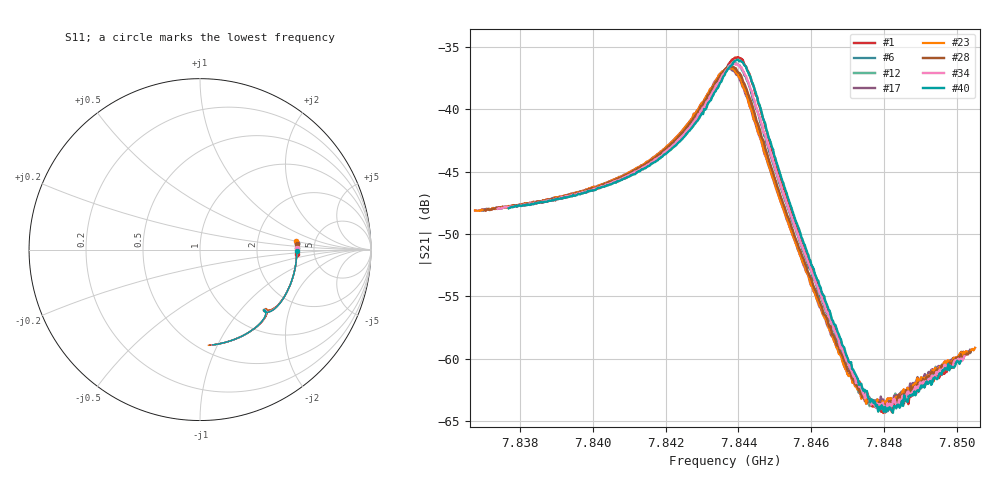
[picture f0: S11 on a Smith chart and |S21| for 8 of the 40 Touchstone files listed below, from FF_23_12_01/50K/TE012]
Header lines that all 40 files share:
#  HZ  S  RI  R  50.00
! Rohde & Schwarz Vector Network Analyzer
! Rohde-Schwarz,ZNB20-2Port,1311601062101988,3.16
! freq[Hz]  re:S11  im:S11  re:S21  im:S21  re:S12  im:S12  re:S22  im:S22
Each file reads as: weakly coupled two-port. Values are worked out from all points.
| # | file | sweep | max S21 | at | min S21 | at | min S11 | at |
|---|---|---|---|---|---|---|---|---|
| 1 | 4_2_48.0984_50.1341057_1195.338_.s2p | 7.8379 GHz to 7.84986 GHz | -35.85 dB | 7.84397 GHz | -64.3 dB | 7.84798 GHz | -5.8 dB | 7.84409 GHz |
| 2 | 14_2_48.0986_50.1336327_7182.402_.s2p | 7.83776 GHz to 7.84999 GHz | -35.93 dB | 7.84393 GHz | -64.2 dB | 7.848 GHz | -5.8 dB | 7.84409 GHz |
| 3 | 43_2_48.0994_50.1168861_25229.631_.s2p | 7.83757 GHz to 7.85007 GHz | -36.21 dB | 7.84391 GHz | -64.0 dB | 7.84804 GHz | -5.8 dB | 7.84407 GHz |
| 4 | 47_2_48.1019_50.1140785_27491.615_.s2p | 7.83746 GHz to 7.85016 GHz | -36.22 dB | 7.84393 GHz | -64.0 dB | 7.84797 GHz | -5.8 dB | 7.84403 GHz |
| 5 | 52_2_48.1005_50.1085739_30374.83_.s2p | 7.83756 GHz to 7.85004 GHz | -36.22 dB | 7.8439 GHz | -64.1 dB | 7.84798 GHz | -5.8 dB | 7.84405 GHz |
| 6 | 58_2_48.0976_50.1018143_34072.988_.s2p | 7.83739 GHz to 7.85018 GHz | -36.28 dB | 7.84385 GHz | -64.2 dB | 7.8481 GHz | -5.8 dB | 7.84404 GHz |
| 7 | 66_2_48.0986_50.09552_38948.66_.s2p | 7.83738 GHz to 7.85015 GHz | -36.35 dB | 7.84392 GHz | -64.1 dB | 7.84801 GHz | -5.8 dB | 7.84402 GHz |
| 8 | 71_2_48.0982_50.0892296_41797.754_.s2p | 7.8372 GHz to 7.85031 GHz | -36.37 dB | 7.84385 GHz | -64.0 dB | 7.84802 GHz | -5.8 dB | 7.84399 GHz |
| 9 | 85_2_48.0988_50.0775375_50395.297_.s2p | 7.83723 GHz to 7.85024 GHz | -36.51 dB | 7.84386 GHz | -64.1 dB | 7.84799 GHz | -5.8 dB | 7.84396 GHz |
| 10 | 87_2_48.0993_50.0753326_51539.551_.s2p | 7.83715 GHz to 7.85029 GHz | -36.50 dB | 7.84379 GHz | -63.9 dB | 7.84796 GHz | -5.8 dB | 7.84398 GHz |
| 11 | 93_2_48.1012_50.0693779_55291.684_.s2p | 7.83703 GHz to 7.8504 GHz | -36.54 dB | 7.84385 GHz | -63.8 dB | 7.84793 GHz | -5.8 dB | 7.84395 GHz |
| 12 | 117_2_48.0993_50.0492134_69663.766_.s2p | 7.83696 GHz to 7.85039 GHz | -36.67 dB | 7.84378 GHz | -63.8 dB | 7.8476 GHz | -5.7 dB | 7.84391 GHz |
| 13 | 118_2_48.0977_50.0481567_70238.625_.s2p | 7.83689 GHz to 7.85043 GHz | -36.64 dB | 7.84376 GHz | -63.9 dB | 7.84775 GHz | -5.7 dB | 7.84396 GHz |
| 14 | 120_2_48.0993_50.0462532_71396.078_.s2p | 7.83698 GHz to 7.85037 GHz | -36.70 dB | 7.84371 GHz | -63.8 dB | 7.84776 GHz | -5.7 dB | 7.84391 GHz |
| 15 | 121_2_48.0967_50.0448151_71961.172_.s2p | 7.83692 GHz to 7.85041 GHz | -36.70 dB | 7.84373 GHz | -63.8 dB | 7.84791 GHz | -5.7 dB | 7.84393 GHz |
| 16 | 126_2_48.0997_50.0414085_75125.641_.s2p | 7.83691 GHz to 7.8504 GHz | -36.63 dB | 7.84376 GHz | -63.8 dB | 7.848 GHz | -5.7 dB | 7.84389 GHz |
| 17 | 135_2_48.1006_50.0314674_80577.828_.s2p | 7.83692 GHz to 7.85036 GHz | -36.73 dB | 7.84374 GHz | -63.9 dB | 7.84777 GHz | -5.7 dB | 7.84391 GHz |
| 18 | 137_2_48.1022_50.0297203_81747.531_.s2p | 7.83692 GHz to 7.85033 GHz | -36.78 dB | 7.84376 GHz | -63.7 dB | 7.84795 GHz | -5.7 dB | 7.84389 GHz |
| 19 | 157_2_48.1016_50.0205994_87007.625_.s2p | 7.8369 GHz to 7.85027 GHz | -36.83 dB | 7.84372 GHz | -64.0 dB | 7.84783 GHz | -5.7 dB | 7.84385 GHz |
| 20 | 158_2_48.0999_50.0226402_86428.672_.s2p | 7.83686 GHz to 7.8503 GHz | -36.79 dB | 7.84365 GHz | -64.0 dB | 7.84792 GHz | -5.7 dB | 7.84385 GHz |
| 21 | 181_2_48.101_50.0469627_72676.047_.s2p | 7.83685 GHz to 7.85039 GHz | -36.68 dB | 7.84369 GHz | -63.9 dB | 7.84775 GHz | -5.7 dB | 7.84389 GHz |
| 22 | 183_2_48.1022_50.0498428_71277.797_.s2p | 7.83695 GHz to 7.85031 GHz | -36.67 dB | 7.84376 GHz | -63.9 dB | 7.84784 GHz | -5.7 dB | 7.8439 GHz |
| 23 | 188_2_48.103_50.0552254_68412.367_.s2p | 7.83677 GHz to 7.85049 GHz | -36.64 dB | 7.84377 GHz | -64.0 dB | 7.84792 GHz | -5.7 dB | 7.84387 GHz |
| 24 | 189_2_48.1019_50.0570412_67842.352_.s2p | 7.83699 GHz to 7.8503 GHz | -36.62 dB | 7.84378 GHz | -63.9 dB | 7.8478 GHz | -5.7 dB | 7.84391 GHz |
| 25 | 201_2_48.0993_50.0705948_60692.387_.s2p | 7.83709 GHz to 7.85027 GHz | -36.59 dB | 7.84375 GHz | -64.0 dB | 7.8479 GHz | -5.7 dB | 7.84395 GHz |
| 26 | 202_2_48.1014_50.0723381_60143.246_.s2p | 7.837 GHz to 7.85035 GHz | -36.61 dB | 7.84377 GHz | -63.9 dB | 7.84795 GHz | -5.7 dB | 7.84394 GHz |
| 27 | 207_2_48.1022_50.0788612_57036.652_.s2p | 7.83717 GHz to 7.85021 GHz | -36.57 dB | 7.84379 GHz | -64.3 dB | 7.84796 GHz | -5.7 dB | 7.84395 GHz |
| 28 | 208_2_48.1005_50.0806808_56457.992_.s2p | 7.83703 GHz to 7.85037 GHz | -36.59 dB | 7.84376 GHz | -63.8 dB | 7.84776 GHz | -5.7 dB | 7.84396 GHz |
| 29 | 211_2_48.1058_50.0825424_54769.73_.s2p | 7.83702 GHz to 7.85038 GHz | -36.52 dB | 7.84384 GHz | -63.9 dB | 7.84788 GHz | -5.7 dB | 7.84394 GHz |
| 30 | 222_2_48.0965_50.0960808_48168.746_.s2p | 7.83721 GHz to 7.85026 GHz | -36.44 dB | 7.8438 GHz | -64.0 dB | 7.84794 GHz | -5.8 dB | 7.84396 GHz |
| 31 | 229_2_48.1007_50.1058731_43874.133_.s2p | 7.83729 GHz to 7.8502 GHz | -36.44 dB | 7.84384 GHz | -64.0 dB | 7.8481 GHz | -5.8 dB | 7.84397 GHz |
| 32 | 236_2_48.0994_50.1152878_39619.656_.s2p | 7.83732 GHz to 7.85023 GHz | -36.38 dB | 7.84384 GHz | -64.1 dB | 7.84774 GHz | -5.8 dB | 7.844 GHz |
| 33 | 244_2_48.0996_50.1245308_34736.168_.s2p | 7.83724 GHz to 7.85032 GHz | -36.34 dB | 7.84391 GHz | -64.0 dB | 7.84807 GHz | -5.8 dB | 7.84401 GHz |
| 34 | 248_2_48.1004_50.1303024_32449.057_.s2p | 7.83739 GHz to 7.8502 GHz | -36.33 dB | 7.84389 GHz | -63.9 dB | 7.84812 GHz | -5.8 dB | 7.84405 GHz |
| 35 | 251_2_48.0955_50.1312828_30771.318_.s2p | 7.8375 GHz to 7.85013 GHz | -36.27 dB | 7.84391 GHz | -64.4 dB | 7.84808 GHz | -5.8 dB | 7.84404 GHz |
| 36 | 261_2_48.0997_50.1444016_24689.891_.s2p | 7.83733 GHz to 7.85033 GHz | -36.25 dB | 7.84399 GHz | -64.5 dB | 7.84806 GHz | -5.8 dB | 7.84409 GHz |
| 37 | 265_2_48.1011_50.1491165_22212.668_.s2p | 7.83764 GHz to 7.85008 GHz | -36.22 dB | 7.84392 GHz | -64.2 dB | 7.84793 GHz | -5.8 dB | 7.84411 GHz |
| 38 | 272_2_48.1011_50.1528664_18157.926_.s2p | 7.83757 GHz to 7.85015 GHz | -36.14 dB | 7.84402 GHz | -64.2 dB | 7.84792 GHz | -5.8 dB | 7.84411 GHz |
| 39 | 274_2_48.098_50.1545372_16750.291_.s2p | 7.83766 GHz to 7.85008 GHz | -36.14 dB | 7.84403 GHz | -64.2 dB | 7.848 GHz | -5.8 dB | 7.84409 GHz |
| 40 | 282_2_48.0991_50.1640587_12201.635_.s2p | 7.8377 GHz to 7.8501 GHz | -36.05 dB | 7.84399 GHz | -64.3 dB | 7.84824 GHz | -5.8 dB | 7.84412 GHz |
